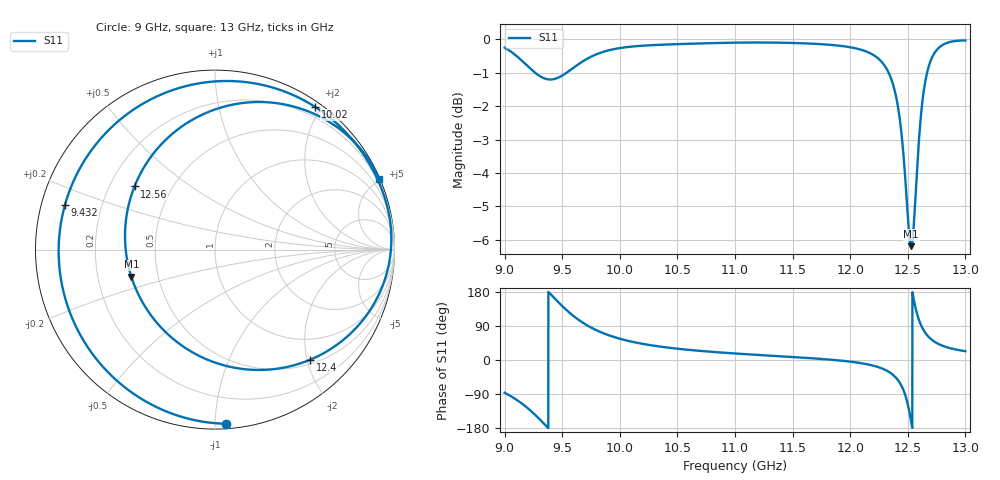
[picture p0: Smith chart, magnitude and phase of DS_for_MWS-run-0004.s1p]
! TOUCHSTONE file generated by CST DESIGN STUDIO
! Date and time: Tue Feb  4 12:42:27 2025
! Project name: C:\Work\MatlabApps\UnitCellOptimizationMatlab\CST\unitcell.cst
! Tree item: Tasks\Sweep1\SPara1\S-Parameters
! Header version: 2024
! Port assignment regex: !\s*Touchstone port\s*([0-9]+)\s*=\s*(CST MWS port|CST DES external port|CST DES block port)\s*(.+)\s* \(\"(.*)\"\)(\s*mode\s*([0-9]+))?.*
! Touchstone port assignment:
! Touchstone port 1 = CST DES external port 1 ("")
# GHz S MA R 50
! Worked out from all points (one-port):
!   4001 points, 9 GHz to 13 GHz, reference 50 ohm
!   lowest |S11| = -6.2 dB at 12.53 GHz (marker M1), VSWR 2.92, Z = 17.5 - j6.95 ohm
!   |S11| at or under -10 dB: nowhere
!   S11 on the Smith chart (normalised r, x): 9 GHz: 0.03, -1.06; 9.432 GHz: 0.07, +0.15; 10.02 GHz: 0.07, +1.92; 12.4 GHz: 0.57, -2.06; 12.56 GHz: 0.30, +0.32; 13 GHz: 0.04, +4.87
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9  0.9721 -86.5
9.11  0.9424 -106.3
9.207  0.9097 -128.8
9.328  0.8767 -163.6
9.432  0.8723 163.3
9.5  0.8827 142.4
9.593  0.9056 117.4
9.693  0.9304 95.7
9.84  0.956 72.8
10  0.9705 56.1
10.015  0.9714 54.9
10.5  0.9838 29.8
11  0.9888 17.2
11.5  0.9878 7.9
12  0.9733 -4.3
12.272  0.9259 -21.8
12.347  0.8808 -33.5
12.404  0.8115 -49.1
12.46  0.6794 -77.7
12.5  0.5442 -117.2
12.529  0.49 -162.1
12.564  0.57 141.9
12.594  0.6959 108.3
12.625  0.8022 85.5
12.672  0.8983 64.0
12.725  0.95 49.7
12.831  0.9866 34.4
13  0.9964 23.2
